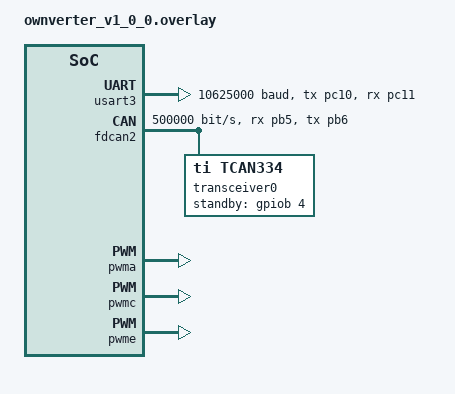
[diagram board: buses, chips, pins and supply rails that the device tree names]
/*
 * Copyright (c) 2023-2024 OwnTech.
 *
 * SPDX-License-Identifier: LGPL-2.1
 */

/ {
	choosen{
		zephyr,can-primary = &fdcan2;
	};

	powershield: power-shield{
        compatible = "power-leg";
        default-frequency = <200000>;
        leg1: leg1{
            leg-name = "LEG1";
			pwms = <&pwma 1 0>, <&pwma 2 0>;
            pwm-pin-num = <12 14>;
            driver-pin-num = <19>;
            current-pin-num = <25>;
            default-adc-trigger = "ADCTRIG_1";
            default-adc-decim = <1>;
            default-edge-trigger = "EdgeTrigger_up";
            default-dead-time = <100 100>;
            default-modulation = "UpDwn";
            default-phase-shift = <0>;
			status = "okay";
        };

        leg2: leg2{
            leg-name = "LEG2";
			pwms = <&pwmc 1 0>, <&pwmc 2 0>;
            pwm-pin-num = <2 4>;
            driver-pin-num = <22>;
            current-pin-num = <30>;
            default-adc-trigger = "ADCTRIG_3";
            default-adc-decim = <1>;
            default-edge-trigger = "EdgeTrigger_up";
            default-dead-time = <100 100>;
            default-modulation = "UpDwn";
            default-phase-shift = <0>;
			status = "okay";
        };

		leg3: leg3{
            leg-name = "LEG3";
			pwms = <&pwme 1 0>, <&pwme 2 0>;
            pwm-pin-num = <10 11>;
            driver-pin-num = <56>;
            current-pin-num = <1>;
            default-adc-trigger = "ADCTRIG_3";
            default-adc-decim = <1>;
            default-edge-trigger = "EdgeTrigger_up";
            default-dead-time = <100 100>;
            default-modulation = "UpDwn";
            default-phase-shift = <0>;
			status = "okay";
        };
    };

	shield-sensors {
		/* Voltage channels */
		v1low: v1-low {
			compatible = "shield-sensors";
			sensor-name = "V1_LOW";
			default-gain = <0x3d3851ec>;
			default-offset = <0xc2b867f0>;
			sensor-conv-type = "LINEAR";
			v1-low-adc1 {
				io-channels = <&adc1 6>;
				spin-pin = <24>;
			};
			v1-low-adc2 {
				io-channels = <&adc2 6>;
				spin-pin = <24>;
			};
			status = "okay";
		};

		v2low: v2-low {
			compatible = "shield-sensors";
			sensor-name = "V2_LOW";
			default-gain = <0x3d3851ec>;
			default-offset = <0xc2b867f0>;
			sensor-conv-type = "LINEAR";
			v2-low-adc1 {
				io-channels = <&adc1 1>;
				spin-pin = <29>;
			};
			v2-low-adc2 {
				io-channels = <&adc2 1>;
				spin-pin = <29>;
			};
			status = "okay";
		};

		v3low: v3-low {
			compatible = "shield-sensors";
			sensor-name = "V3_LOW";
			default-gain = <0x3d3851ec>;
			default-offset = <0xc2b867f0>;
			sensor-conv-type = "LINEAR";
			v3-low-adc2 {
				io-channels = <&adc2 4>;
				spin-pin = <44>;
			};
			status = "okay";
		};

		vhigh: v-high {
			compatible = "shield-sensors";
			sensor-name = "V_HIGH";
			default-gain = <0x3cf57710>;
			default-offset = <0x00000000>;
			sensor-conv-type = "LINEAR";
			v-high-adc1 {
				io-channels = <&adc1 8>;
				spin-pin = <26>;
			};
			v-high-adc2 {
				io-channels = <&adc2 8>;
				spin-pin = <26>;
			};
			status = "okay";
		};

		vneutr: vneutr {
			compatible = "shield-sensors";
			sensor-name = "V_NEUTR";
			default-gain = <0x3f800000>;
			default-offset = <0x00000000>;
			sensor-conv-type = "LINEAR";
			vneutr-adc1 {
				io-channels = <&adc1 15>;
				spin-pin = <31>;
			};
			status = "okay";
		};

		/* Current channels */

		i1low: i1-low {
			compatible = "shield-sensors";
			sensor-name = "I1_LOW";
			default-gain = <0x3ba3d70a>;
			default-offset = <0xc1200000>;
			sensor-conv-type = "LINEAR";
			i1-low-adc1 {
				io-channels = <&adc1 7>;
				spin-pin = <25>;
			};
			i1-low-adc2 {
				io-channels = <&adc2 7>;
				spin-pin = <25>;
			};
			status = "okay";
		};

		i2low: i2-low {
			compatible = "shield-sensors";
			sensor-name = "I2_LOW";
			default-gain = <0x3ba3d70a>;
			default-offset = <0xc1200000>;
			sensor-conv-type = "LINEAR";
			i2-low-adc1 {
				io-channels = <&adc1 2>;
				spin-pin = <30>;
			};
			i2-low-adc2 {
				io-channels = <&adc2 2>;
				spin-pin = <30>;
			};
			status = "okay";
		};

		i3low: i3-low {
			compatible = "shield-sensors";
			sensor-name = "I3_LOW";
			default-gain = <0x3d3851ec>;
			default-offset = <0xc2b867f0>;
			sensor-conv-type = "LINEAR";
			v3-low-adc1 {
				io-channels = <&adc1 14>;
				spin-pin = <1>;
			};
			v3-low-adc2 {
				io-channels = <&adc2 14>;
				spin-pin = <1>;
			};
			status = "okay";
		};

		ihigh: i-high {
			compatible = "shield-sensors";
			sensor-name = "I_HIGH";
			default-gain = <0x3ba3d70a>;
			default-offset = <0xc1200000>;
			sensor-conv-type = "LINEAR";
			i-high-adc1 {
				io-channels = <&adc1 9>;
				spin-pin = <27>;
			};
			i-high-adc2 {
				io-channels = <&adc2 9>;
				spin-pin = <27>;
			};
			status = "okay";
		};

		/* Other channels */

		temp: temp-sensor {
			compatible = "shield-sensors";
			sensor-name = "TEMP_SENSOR";
			default-r0 = <0x461c4000>;
			default-b = <0x4557a000>;
			default-rdiv = <0x469c4000>;
			default-t0 = <0x43951333>;
			sensor-conv-type = "THERMISTANCE";
			mux-spin-pin-1 = <15>;
			mux-spin-pin-2 = <21>;
			temp-sensor-adc2 {
				io-channels = <&adc2 15>;
				spin-pin = <6>;
			};
			status = "okay";
		};

		analog: analog-comm {
			compatible = "shield-sensors";
			sensor-name = "ANALOG_COMM";
			default-gain = <0x3f800000>;
			default-offset = <0x00000000>;
			sensor-conv-type = "LINEAR";
			extra-sensor-adc2 {
				io-channels = <&adc2 5>;
				spin-pin = <35>;
			};
			status = "okay";
		};

		sin: analog-sin {
            compatible = "shield-sensors";
            sensor-name = "ANALOG_SIN";
            default-gain = <0x3f800000>;
            default-offset = <0x00000000>;
			sensor-conv-type = "LINEAR";
            analog-sin-adc2 {
                    io-channels = <&adc2 11>;
					spin-pin = <43>;
            };
			status = "okay";
		};
		cos: analog-cos {
            compatible = "shield-sensors";
            sensor-name = "ANALOG_COS";
            default-gain = <0x3f800000>;
            default-offset = <0x00000000>;
			sensor-conv-type = "LINEAR";
            analog-cos-adc2 {
                    io-channels = <&adc2 17>;
					spin-pin = <45>;
            };
			status = "okay";
		};
	};

	shield-safety-thresholds {

		/* Voltage thresholds */

		v1lowtd: v1-low-td {
			compatible = "safety-thresholds";
			sensor-name = "V1_LOW";
			threshold-name = "V1_LOW_TD";
			threshold-high = <0x428c0000>; /* 70.0 */
			threshold-low = <0xc1200000>; /* -10.0 */
			status = "okay";
		};

		v2lowtd: v2-low-td {
			compatible = "safety-thresholds";
			sensor-name = "V2_LOW";
			threshold-name = "V2_LOW_TD";
			threshold-high = <0x428c0000>; /* 70.0 */
			threshold-low = <0xc1200000>; /* -10.0 */
			status = "okay";
		};

		v3lowtd: v3-low-td {
			compatible = "safety-thresholds";
			sensor-name = "V3_LOW";
			threshold-name = "V3_LOW_TD";
			threshold-high = <0x428c0000>; /* 70.0 */
			threshold-low = <0xc1200000>; /* -10.0 */
			status = "okay";
		};

		vhightd: v-high-td {
			compatible = "safety-thresholds";
			sensor-name = "V_HIGH";
			threshold-name = "V_HIGH_TD";
			threshold-high = <0x42c80000>; /* 100.0 */
			threshold-low = <0x41200000>; /* 10.0 */
			status = "okay";
		};

		/* Current thresholds */

		i1lowtd: i1-low-td {
			compatible = "safety-thresholds";
			sensor-name = "I1_LOW";
			threshold-name = "I1_LOW_TD";
			threshold-high = <0x40e00000>; /* 7.0 */
			threshold-low = <0xc0e00000>; /* -7.0 */
			status = "okay";
		};

		i2lowtd: i2-low-td {
			compatible = "safety-thresholds";
			sensor-name = "I2_LOW";
			threshold-name = "I2_LOW_TD";
			threshold-high = <0x40e00000>; /* 7.0 */
			threshold-low = <0xc0e00000>; /* -7.0 */
			status = "okay";
		};

		i3lowtd: i3-low-td {
			compatible = "safety-thresholds";
			sensor-name = "I3_LOW";
			threshold-name = "I3_LOW_TD";
			threshold-high = <0x40e00000>; /* 7.0 */
			threshold-low = <0xc0e00000>; /* -7.0 */
			status = "okay";
		};

		/* Other channels thresholds */

		temptd: temp-sensor-td {
			compatible = "safety-thresholds";
			sensor-name = "TEMP_SENSOR";
			threshold-name = "TEMP_SENSOR_TD";
			threshold-high = <0x428c0000>;  /*  70C */
			threshold-low = <0xc1a00000>;	/* -20C */
			status = "disabled";
		};

		analogtd: analog-comm-td {
			compatible = "safety-thresholds";
			sensor-name = "ANALOG_COMM";
			threshold-name = "ANALOG_COMM_TD";
			threshold-high = <0x00000000>;
			threshold-low = <0x00000000>;
			status = "disabled";
		};
	};
};

// UART / RS485 transceiver

&usart3 {
	pinctrl-0 = < &usart3_tx_pc10 &usart3_rx_pc11 >;
	pinctrl-names = "default";
	current-speed = <10625000>;
	status = "okay";
};

// CAN

&fdcan2 {
	pinctrl-0 = <&fdcan2_rx_pb5 &fdcan2_tx_pb6>;
	pinctrl-names = "default";
	bitrate = <500000>;
	sample-point = <875>;
	bitrate-data = <500000>;
	sample-point-data = <875>;
	status = "okay";
	transceiver0: can-phy0 {
		compatible = "ti,tcan334", "can-transceiver-gpio";
		max-bitrate = <1000000>;
		standby-gpios = <&gpiob 4 GPIO_ACTIVE_HIGH>;
		#phy-cells = <0>;
	};
};

&pwma {
	status = "okay";
};

&pwmc {
	status = "okay";
};

&pwmd {
	status = "disabled";
};

&pwme {
	status = "okay";
};

&pwmf {
	status = "disabled";
};


&hrtim1 {
	scin: scin {
		pinctrl-0 = <&hrtim1_scin_pb2>;
	};
	scout: scout {
		pinctrl-0 = <&hrtim1_scout_pb1>;
	};
};
